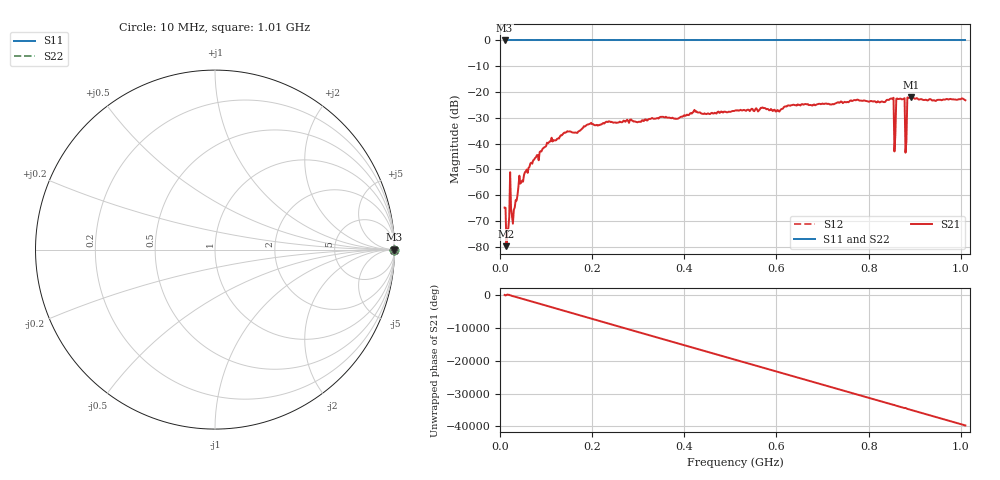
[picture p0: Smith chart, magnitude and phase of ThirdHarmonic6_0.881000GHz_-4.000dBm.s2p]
! 8/16/2025 5:00:39 AM
! C:\ANRITSUVNA\TEMP\TEMP.S2P
! CHANNEL.1
! TR.MEASUREMENT
! RAW.DATA
! RF.CORRECTION.OFF
! AVERAGING.OFF
! IF.BANDWIDTH: 5KHZ
! SWEEPTYPE:  FREQ.SWEEP(Linear)
! Reference Plane Port Info
! PORT:  PORT1  PORT2
! DISTANCE:  0  m  0  m
! TIME:  0  s  0  s
! PHASE.OFFSET:  0  deg.  0  deg.
! LOSS:  0  dB  0  dB
! REF.LOSS:  0  dB  0  dB
! REF.FREQ:  0  Hz  0  Hz
! Power Info
! POWER:  -20  dBm  -20  dBm
! EFF.POWER:  -20  dBm  -20  dBm
! SOURCE.ATTEN:  0  dB  0  dB
! TEST.ATTEN:  0  dB  0  dB
# GHZ S RI R 50.0
! FREQ.GHZ  S11RE  S11IM  S21RE  S21IM  S12RE  S12IM  S22RE  S22IM
!; PortSelection: Port_12
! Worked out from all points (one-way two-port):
!   501 points, 10 MHz to 1.01 GHz, reference 50 ohm
!   highest |S21| = -22.08 dB at 892 MHz (marker M1); lowest = -79.8 dB at 14 MHz (marker M2)
!   lowest |S11| = 0.0 dB at 10 MHz (marker M3)
!   |S11| at or under -10 dB: nowhere
!   |S22| runs from 0.0 to 0.0 dB; largest |S21 - S12| = 1.1
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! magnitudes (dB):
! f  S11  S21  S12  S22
! 10 MHz  0.0  -64.8  0.0  0.0
! 14 MHz  0.0  -79.8  0.0  0.0
! 22 MHz  0.0  -51.1  0.0  0.0
! 30 MHz  0.0  -65.7  0.0  0.0
! 44 MHz  0.0  -55.5  0.0  0.0
! 76 MHz  0.0  -45.6  0.0  0.0
! 108 MHz  0.0  -39.2  0.0  0.0
! 178 MHz  0.0  -34.3  0.0  0.0
! 344 MHz  0.0  -30.3  0.0  0.0
! 510 MHz  0.0  -27.2  0.0  0.0
! 678 MHz  0.0  -25.3  0.0  0.0
! 844 MHz  0.0  -23.1  0.0  0.0
! 850 MHz  0.0  -22.5  0.0  0.0
! 854 MHz  0.0  -22.2  0.0  0.0
! 860 MHz  0.0  -22.6  0.0  0.0
! 864 MHz  0.0  -22.7  0.0  0.0
! 874 MHz  0.0  -22.8  0.0  0.0
! 878 MHz  0.0  -22.4  0.0  0.0
! 884 MHz  0.0  -22.1  0.0  0.0
! 888 MHz  0.0  -22.3  0.0  0.0
! 892 MHz  0.0  -22.1  0.0  0.0
! 1.01 GHz  0.0  -23.2  0.0  0.0
